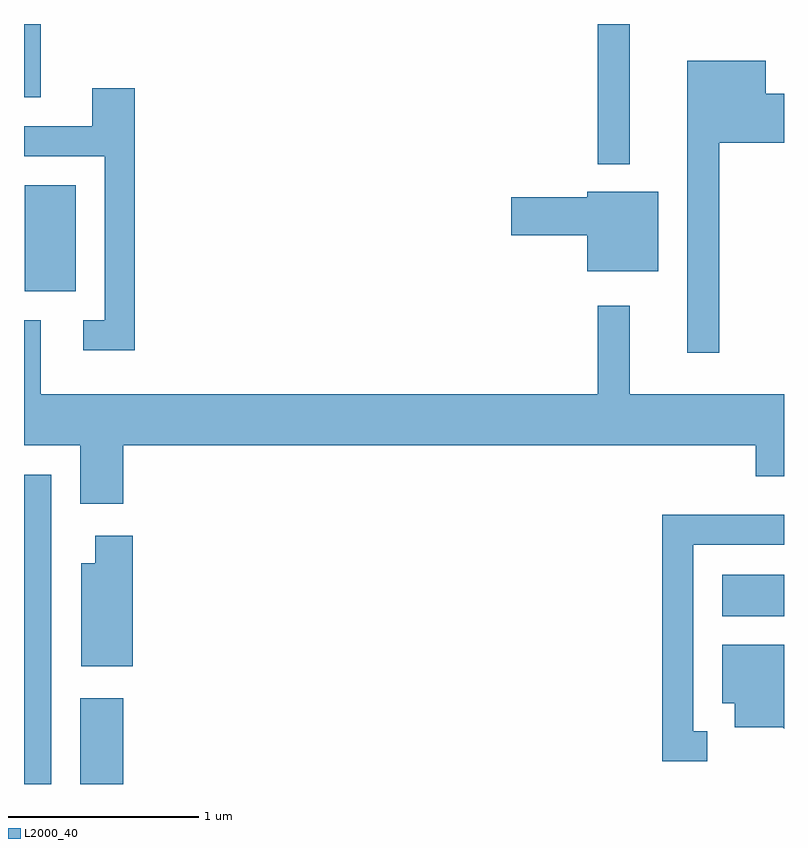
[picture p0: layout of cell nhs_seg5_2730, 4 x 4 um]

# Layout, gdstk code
import gdstk
lib = gdstk.Library(unit=1e-6, precision=1e-09)
def R(c, l, rs):  # rectangles x0, y0, x1, y1
    for r in rs: c.add(gdstk.rectangle(r[:2], r[2:], *l))
def P(c, l, *ps):  # polygons
    for p in ps: c.add(gdstk.Polygon(p, *l))
L2000_40 = (2000, 40)

nhs_seg5_2730 = lib.new_cell('nhs_seg5_2730')
R(nhs_seg5_2730, L2000_40, [(265.611,1506.072,265.754,1507.699), (265.906,1506.072,266.134,1506.524), (269.286,1506.956,269.611,1507.174), (265.616,1508.666,265.884,1509.224), (268.631,1509.333,268.799,1510.072), (265.611,1509.686,265.699,1510.072)])
P(nhs_seg5_2730, L2000_40, [(269.269,1509.446),(269.611,1509.446),(269.611,1509.704),(269.514,1509.704),(269.514,1509.879),(269.101,1509.879),(269.101,1508.343),(269.269,1508.343)],
  [(266.194,1509.734),(265.971,1509.734),(265.971,1509.534),(265.611,1509.534),(265.611,1509.376),(266.036,1509.376),(266.036,1508.514),(265.923,1508.514),(265.923,1508.356),(266.194,1508.356)],
  [(268.949,1509.189),(268.576,1509.189),(268.576,1509.159),(268.176,1509.159),(268.176,1508.961),(268.576,1508.961),(268.576,1508.771),(268.949,1508.771)],
  [(266.134,1507.856),(269.461,1507.856),(269.461,1507.691),(269.611,1507.691),(269.611,1508.124),(268.799,1508.124),(268.799,1508.588),(268.631,1508.588),(268.631,1508.124),(265.699,1508.124),(265.699,1508.514),(265.611,1508.514),(265.611,1507.856),(265.906,1507.856),(265.906,1507.546),(266.134,1507.546)],
  [(269.208,1506.349),(269.134,1506.349),(269.134,1507.331),(269.611,1507.331),(269.611,1507.489),(268.971,1507.489),(268.971,1506.191),(269.208,1506.191)],
  [(266.184,1507.379),(265.986,1507.379),(265.986,1507.234),(265.911,1507.234),(265.911,1506.691),(266.184,1506.691)],
  [(269.611,1506.804),(269.286,1506.804),(269.286,1506.496),(269.351,1506.496),(269.351,1506.371),(269.604,1506.371),(269.611,1506.364)])

lib.write_gds('nhs_seg5_2730.gds')
